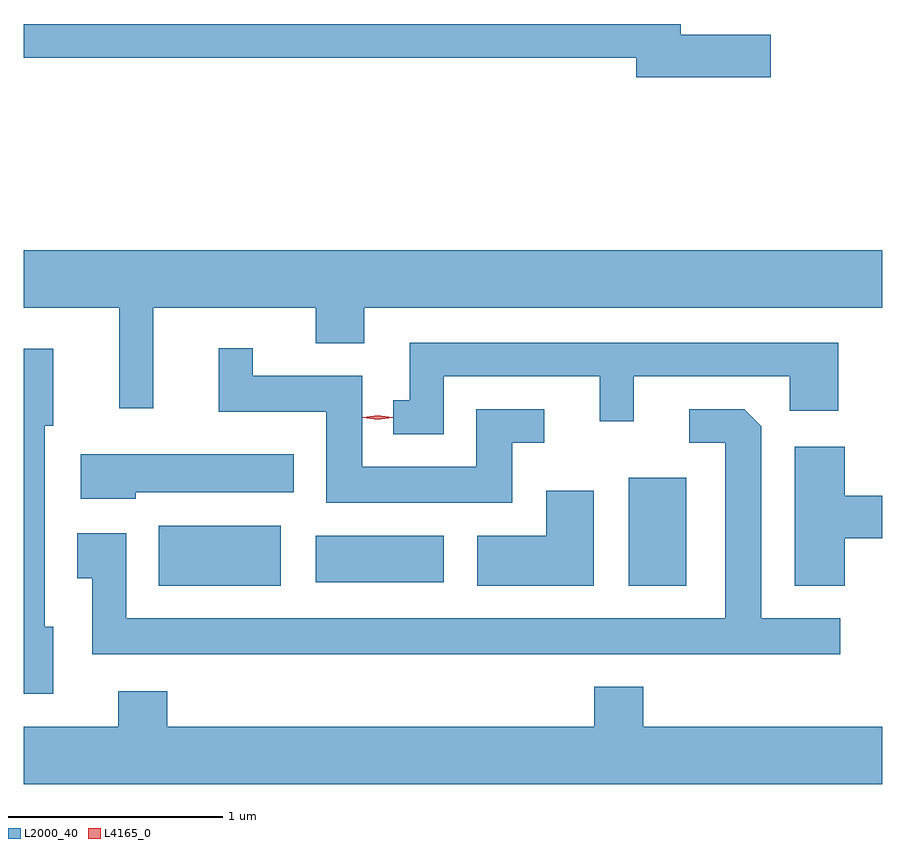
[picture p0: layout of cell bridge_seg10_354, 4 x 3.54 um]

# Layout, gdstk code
import gdstk
lib = gdstk.Library(unit=1e-6, precision=1e-09)
def R(c, l, rs):  # rectangles x0, y0, x1, y1
    for r in rs: c.add(gdstk.rectangle(r[:2], r[2:], *l))
def P(c, l, *ps):  # polygons
    for p in ps: c.add(gdstk.Polygon(p, *l))
L2000_40 = (2000, 40)
L4165_0 = (4165, 0)

bridge_seg10_354 = lib.new_cell('bridge_seg10_354')
R(bridge_seg10_354, L2000_40, [(1104.741,2094.861,1105.309,2095.139), (1106.931,2094.861,1107.199,2095.364), (1105.471,2094.876,1106.069,2095.094)])
P(bridge_seg10_354, L2000_40, [(1107.594,2097.429),(1107.174,2097.429),(1107.174,2097.479),(1104.112,2097.479),(1104.112,2097.321),(1106.966,2097.321),(1106.966,2097.231),(1107.594,2097.231)],
  [(1104.714,2096.156),(1105.471,2096.156),(1105.471,2095.991),(1105.699,2095.991),(1105.699,2096.156),(1108.112,2096.156),(1108.112,2096.424),(1104.112,2096.424),(1104.112,2096.156),(1104.556,2096.156),(1104.556,2095.688),(1104.714,2095.688)],
  [(1106.069,2095.836),(1106.796,2095.836),(1106.796,2095.628),(1106.954,2095.628),(1106.954,2095.836),(1107.681,2095.836),(1107.681,2095.676),(1107.909,2095.676),(1107.909,2095.994),(1105.911,2095.994),(1105.911,2095.724),(1105.833,2095.724),(1105.833,2095.566),(1106.069,2095.566)],
  [(1106.389,2095.526),(1106.538,2095.526),(1106.538,2095.684),(1106.221,2095.684),(1106.221,2095.414),(1105.689,2095.414),(1105.689,2095.839),(1105.179,2095.839),(1105.179,2095.968),(1105.021,2095.968),(1105.021,2095.671),(1105.521,2095.671),(1105.521,2095.246),(1106.389,2095.246)],
  [(1104.249,2094.669),(1104.209,2094.669),(1104.209,2095.606),(1104.249,2095.606),(1104.249,2095.964),(1104.112,2095.964),(1104.112,2094.356),(1104.249,2094.356)],
  [(1107.918,2094.709),(1107.549,2094.709),(1107.549,2095.604),(1107.469,2095.684),(1107.213,2095.684),(1107.213,2095.526),(1107.381,2095.526),(1107.381,2094.709),(1104.589,2094.709),(1104.589,2095.104),(1104.361,2095.104),(1104.361,2094.896),(1104.431,2094.896),(1104.431,2094.541),(1107.918,2094.541)],
  [(1107.939,2095.081),(1108.112,2095.081),(1108.112,2095.279),(1107.939,2095.279),(1107.939,2095.509),(1107.706,2095.509),(1107.706,2094.861),(1107.939,2094.861)],
  [(1104.634,2095.296),(1105.369,2095.296),(1105.369,2095.474),(1104.376,2095.474),(1104.376,2095.266),(1104.634,2095.266)],
  [(1106.769,2095.304),(1106.546,2095.304),(1106.546,2095.094),(1106.226,2095.094),(1106.226,2094.861),(1106.769,2094.861)],
  [(1108.112,2094.204),(1106.999,2094.204),(1106.999,2094.389),(1106.771,2094.389),(1106.771,2094.204),(1104.779,2094.204),(1104.779,2094.369),(1104.551,2094.369),(1104.551,2094.204),(1104.112,2094.204),(1104.112,2093.936),(1108.112,2093.936)])
P(bridge_seg10_354, L4165_0, [(1105.762,2095.635),(1105.692,2095.644),(1105.692,2095.644),(1105.692,2095.645),(1105.762,2095.654),(1105.831,2095.645),(1105.831,2095.645),(1105.831,2095.644)])

lib.write_gds('bridge_seg10_354.gds')
